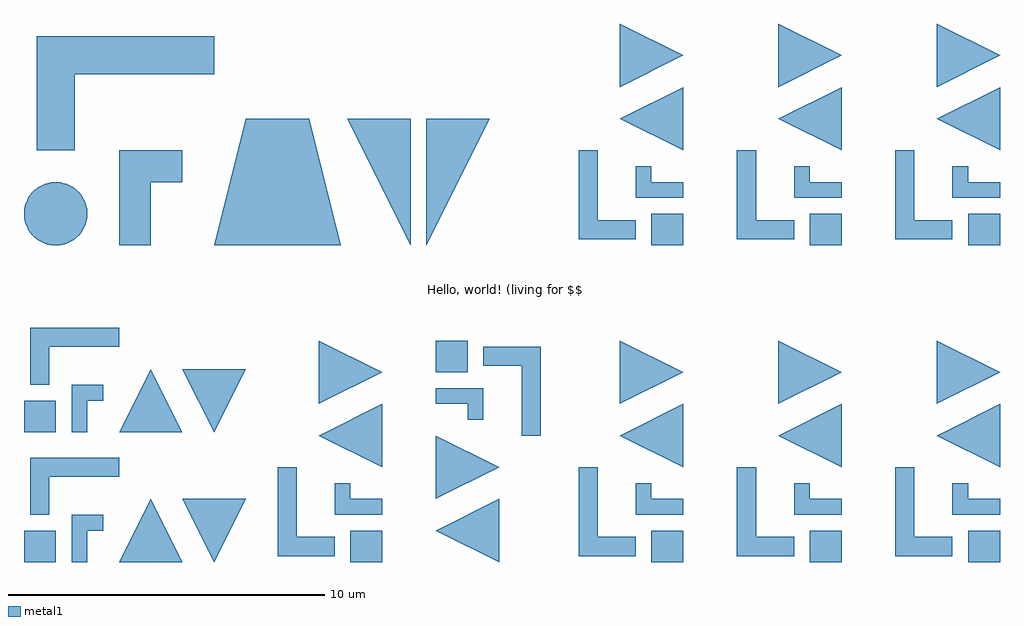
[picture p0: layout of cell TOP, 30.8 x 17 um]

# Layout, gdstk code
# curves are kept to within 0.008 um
from math import pi, radians
import gdstk
lib = gdstk.Library(unit=1e-6, precision=1e-09)
def R(c, l, rs):  # rectangles x0, y0, x1, y1
    for r in rs: c.add(gdstk.rectangle(r[:2], r[2:], *l))
def P(c, l, *ps):  # polygons
    for p in ps: c.add(gdstk.Polygon(p, *l))
metal1 = (1, 0)

child = lib.new_cell('CHILD')
R(child, metal1, [(0,0,1,1)])
P(child, metal1, [(1.5,0),(1.5,1.5),(2.5,1.5),(2.5,1),(2,1),(2,0)],
  [(3,0),(4,2),(5,0)],
  [(6,0),(5,2),(7,2)])
child.add(gdstk.FlexPath([(0.5,1.5),(0.5,3),(3,3)], 0.6, ends="flush", simple_path=True, layer=1, datatype=0))  # metal1

top = lib.new_cell('TOP')
P(top, metal1, [(3,10),(3,13),(5,13),(5,12),(4,12),(4,10)],
  [(0.951,10),(0.757,10.029),(0.572,10.095),(0.404,10.196),(0.258,10.328),(0.141,10.485),(0.057,10.663),(0.01,10.853),(0,11.049),(0.029,11.243),(0.095,11.428),(0.196,11.596),(0.328,11.742),(0.485,11.859),(0.663,11.943),(0.853,11.99),(1.049,12),(1.243,11.971),(1.428,11.905),(1.596,11.804),(1.742,11.672),(1.859,11.515),(1.943,11.337),(1.99,11.147),(2,10.951),(1.971,10.757),(1.905,10.572),(1.804,10.404),(1.672,10.258),(1.515,10.141),(1.337,10.057),(1.147,10.01)],
  [(12.2,10),(10.2,14),(12.2,14)],
  [(6,10),(7,14),(9,14),(10,10)],
  [(12.7,10),(12.7,14),(14.7,14)])
top.add(gdstk.FlexPath([(1,13),(1,16),(6,16)], 1.2, ends="flush", simple_path=True, layer=1, datatype=0))  # metal1
top.add(gdstk.Reference(child, (0,0)))
top.add(gdstk.Reference(child, (0,4.1)))
top.add(gdstk.Reference(child, (13,7), rotation=3*pi/2))
top.add(gdstk.Reference(child, (11.3,0), rotation=pi/2))
r = gdstk.Reference(child, (30.8,0), rotation=pi/2); r.repetition = gdstk.Repetition(2, 3, v1=(0,10), v2=(-5,0)); top.add(r)
top.add(gdstk.Label('Hello, world! (living for $$$)', (15.2,8.6), layer=1, texttype=0))

lib.write_gds('TOP.gds')
